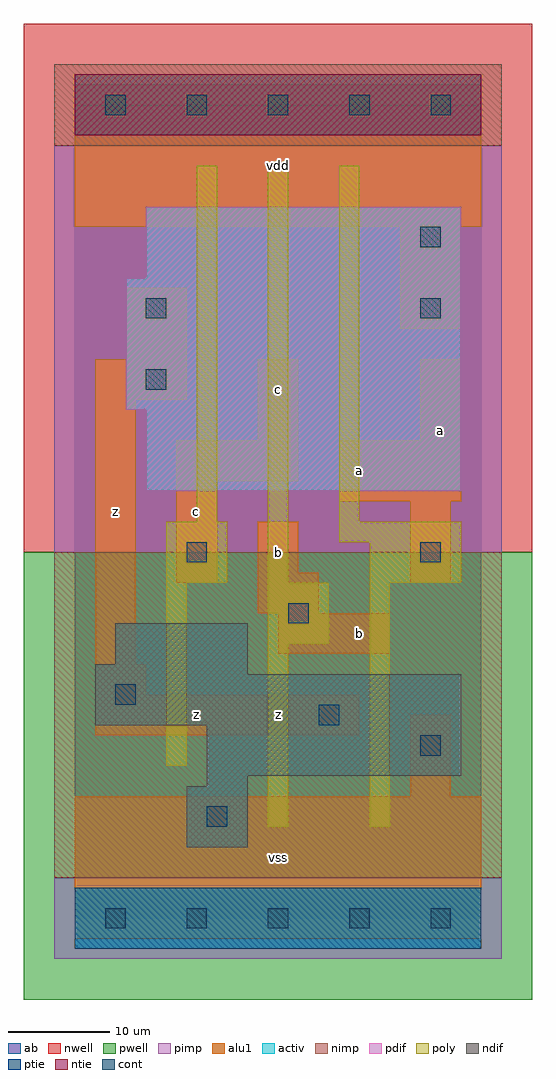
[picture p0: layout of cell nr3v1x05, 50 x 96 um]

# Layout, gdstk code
import gdstk
lib = gdstk.Library(unit=1e-6, precision=1e-09)
def R(c, l, rs):  # rectangles x0, y0, x1, y1
    for r in rs: c.add(gdstk.rectangle(r[:2], r[2:], *l))
def A(c, l, x, y, w, h, nx, ny, dx, dy):  # array of equal rectangles
    R(c, l, [(x+i*dx, y+j*dy, x+i*dx+w, y+j*dy+h) for i in range(nx) for j in range(ny)])
ndif = (3, 0)
pdif = (4, 0)
ntie = (5, 0)
ptie = (6, 0)
cont = (25, 0)
pwell = (41, 0)
nwell = (42, 0)
activ = (43, 0)
pimp = (44, 0)
nimp = (45, 0)
poly = (46, 0)
alu1 = (49, 0)
ab = (63, 0)

nr3v1x05 = lib.new_cell('nr3v1x05')
R(nr3v1x05, ndif, [(11,7,17,13), (13,13,17,14), (13,14,38,19), (2,19,38,24), (2,24,17,25), (4,25,17,29)])
R(nr3v1x05, pdif, [(7,42,38,50), (5,50,38,63), (7,63,38,70)])
R(nr3v1x05, ntie, [(0,77,40,83)])
R(nr3v1x05, ptie, [(0,-3,40,3)])
A(nr3v1x05, cont, 3, -1, 2, 2, 5, 2, 8, 80)
R(nr3v1x05, cont, [(13,9,15,11), (34,16,36,18), (24,19,26,21), (4,21,6,23), (21,29,23,31), (11,35,13,37), (34,35,36,37), (7,52,9,54), (7,59,9,61), (34,59,36,61), (34,66,36,68)])
R(nr3v1x05, pwell, [(-5,-8,45,36)])
R(nr3v1x05, nwell, [(-5,36,45,88)])
R(nr3v1x05, activ, [(0,-3,40,3), (11,7,17,13), (13,13,17,14), (13,14,38,19), (2,19,38,24), (2,24,17,25), (4,25,17,29), (7,42,38,50), (5,50,38,63), (7,63,38,70), (0,77,40,83)])
R(nr3v1x05, pimp, [(-2,-4,42,4), (-2,36,42,76)])
R(nr3v1x05, nimp, [(-2,4,42,36), (-2,76,42,84)])
R(nr3v1x05, poly, [(19,9,21,27), (29,9,31,33), (9,15,11,33), (19,27,25,33), (9,33,15,39), (19,33,21,74), (29,33,38,37), (26,37,38,39), (12,39,14,74), (26,39,28,74)])
R(nr3v1x05, alu1, [(0,-2,40,12), (33,12,37,20), (2,18,28,22), (2,22,7,25), (2,25,6,51), (20,26,31,30), (18,30,24,34), (10,33,14,43), (33,33,37,41), (18,34,22,39), (26,41,38,47), (10,43,22,47), (18,47,22,55), (34,47,38,55), (2,51,11,55), (5,55,11,62), (32,58,38,68), (0,68,40,82)])
R(nr3v1x05, ab, [(0,0,40,80)])
nr3v1x05.add(gdstk.Label('z', (4,40), layer=49, texttype=0))
nr3v1x05.add(gdstk.Label('z', (12,20), layer=49, texttype=0))
nr3v1x05.add(gdstk.Label('c', (12,40), layer=49, texttype=0))
nr3v1x05.add(gdstk.Label('vss', (20,6), layer=49, texttype=0))
nr3v1x05.add(gdstk.Label('vss', (20,6), layer=49, texttype=0))
nr3v1x05.add(gdstk.Label('z', (20,20), layer=49, texttype=0))
nr3v1x05.add(gdstk.Label('b', (20,36), layer=49, texttype=0))
nr3v1x05.add(gdstk.Label('b', (28,28), layer=49, texttype=0))
nr3v1x05.add(gdstk.Label('a', (28,44), layer=49, texttype=0))
nr3v1x05.add(gdstk.Label('c', (20,52), layer=49, texttype=0))
nr3v1x05.add(gdstk.Label('vdd', (20,74), layer=49, texttype=0))
nr3v1x05.add(gdstk.Label('vdd', (20,74), layer=49, texttype=0))
nr3v1x05.add(gdstk.Label('a', (36,48), layer=49, texttype=0))

lib.write_gds('nr3v1x05.gds')
